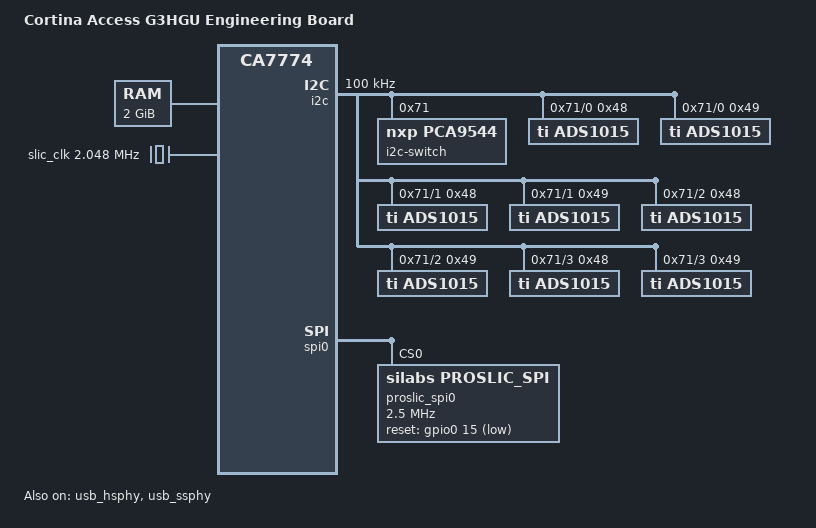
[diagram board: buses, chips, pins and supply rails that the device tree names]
/*
 * dts file for Cortina Access G3 ASIC Development Board
 *
 * Copyright (C) 2017, Cortina Access
 *
 */

/dts-v1/;

#include <dt-bindings/gpio/gpio.h>
#include "ca7774-soc_asic.dtsi"
#include "ca7774-soc-clks.dtsi"
#include "ca77xx-nand.dtsi"
#include "ca77xx-crypto.dtsi"
#include "ca77xx-led.dtsi"
#include "ca8279-saturn_soc.dtsi"

/* board specific and SoC overrides below */
/ {
	model = "Cortina Access G3HGU Engineering Board";
	compatible = "cortina,g3fpga", "cortina,ca7774";
	#address-cells = <2>;
	#size-cells = <2>;
	interrupt-parent = <&gic>;

	aliases {
		serial0 = &uart0;
		serial1 = &uart1;
                ethernet0 = &eth0;
                ethernet1 = &eth1;
	};

	memory { /* 2GB */
		device_type = "memory";
		reg = <0x0 0x00000000 0x0 0x80000000>;
	};

	ca_peri{
		compatible = "cortina,ca-peri";
		reg = <0x0 0xf4329018 0x0 0x400>,
		      <0x0 0xf4320000 0x0 0x60>;
		interrupt-parent = <&per_ictl>;
		interrupts = <2>;
		interrupt-names = "TMR1";
	};

#if 0		/* Enable below node if UART2/3 are necessary */
	uart2: uart@f43291a8 {
		device_type = "serial";
		compatible = "cortina,serial";
		reg = <0x00000000 0xf43291a8 0x0 0x30>;	/* UART base address */
		clocks = <&apb_pclk>;
		interrupts = <GIC_SPI IRQ_GLB_UART2 IRQ_TYPE_LEVEL_HIGH>;
		pinctrl-0 = <&uart2_default>;
		pinctrl-names = "default";
	};
	uart3: uart@f43291d8 {
		device_type = "serial";
		compatible = "cortina,serial";
		reg = <0x00000000 0xf43291d8 0x0 0x30>;	/* UART base address */
		clocks = <&apb_pclk>;
		interrupts = <GIC_SPI IRQ_GLB_UART3 IRQ_TYPE_LEVEL_HIGH>;
		pinctrl-0 = <&uart3_default>;
		pinctrl-names = "default";
	};
#endif

#if 0
	/* APB clock varies based on G3 config */
	/* TODO: develop clock driver to switch between freq. for now use fixed freq. */
	apb_pclk: g3_apb_pclk {
		compatible = "fixed-clock";
		#clock-cells = <0>;
		clock-frequency = <125000000>;
	};
#endif

	sd_clk: g3_sd_clk {
		compatible = "fixed-clock";
		#clock-cells = <0>;
		clock-frequency = <50000000>;
	};

	slic_clk: ext_slic_clk {
		compatible = "fixed-clock";
		#clock-cells = <0>;
#if 0
		/* extclk ONLY and divided internally to generate sclk
		 * ISI:24576000, ZSI:49152000
		 */
		clock-frequency = <24576000>;
		clock-output-names = "ext-slic-clk";
#endif
		/* extclk & extsclk BOTH
		 * ISI: extclk - 24576000/extsclk - 2048000
		 * ZSI: extclk - 49152000/extsclk - 4096000
		 */
		clock-frequency = <2048000>;
		clock-output-names = "ext-slic-sclk";
	};

#if 0
	/* SD clock provides 50/100/200 Mhz */
	/* TODO: develop clock driver to switch between this freq. for now use fixed freq. */
	sd_clk: g3_sd_clk {
		compatible = "fixed-clock";
		#clock-cells = <0>;
		clock-frequency = <50000000>;
	};
	/* PCIe clock provides 250 Mhz */
	pcie_clk: g3_pcie_clk {
		compatible = "fixed-clock";
		#clock-cells = <0>;
		clock-frequency = <250000000>;
	};
	/* PCIe BUS clock provides 250 Mhz */
	pcie_bclk: g3_pcie_bclk {
		compatible = "fixed-clock";
		#clock-cells = <0>;
		clock-frequency = <250000000>;
	};

	/* USB 2 clock provides 60 Mhz */
	usb2_clk: g3_usb2_clk {
		compatible = "fixed-clock";
		#clock-cells = <0>;
		clock-frequency = <60000000>;
	};

	smb { /* simple bus */

		uart0: uart@0xf4570114 {
			device_type = "serial";
			compatible = "cortina,serial";
			reg = <0x0 0xf4570114 0x0 0x30>; /* TODO - when memory map available */
			clocks = <&apb_pclk>;
			clock-names = "apb_pclk";
			interrupts = <0 32 0x1>; /* TODO - when interrupt map available */
		};

		uart1: uart@f4570144 {
			device_type = "serial";
			compatible = "cortina,serial";
			reg = <0x0 0xf4570144 0x0 0x30>; /* TODO - when memory map available */
			clocks = <&apb_pclk>;
			interrupts = <0 32 0x1>; /* edge triggered */
		};

	};
#endif

    /* Driver for thermal sensor, this sensor located at Saturn diode */
    thermal_sensor1: thermal@f310017c {
		compatible = "cortina,thermal-sensor";
		reg = <0 0xf310017c 0 0x10>;
		#thermal-sensor-cells = <0>;
	};

	thermal_cpu_hotplug: cpu_hotplug {
       compatible = "thermal-cpu-hotplug";
       cooling-min-level = <0>;
       cooling-max-level = <3>;
       #cooling-cells = <2>;
    };

	thermal-zones {
        cpu_thermal: cpu-thermal {
                polling-delay-passive = <500>; /* milliseconds */
                polling-delay = <3000>; /* milliseconds */

                thermal-sensors = <&thermal_sensor1>;

                trips {
                        cpu_alert0: cpu-alert0 {
                                temperature = <90000>; /* millicelsius */
                                hysteresis =  <5000>; /* millicelsius */
                                type = "active";
                        };
                        cpu_hot0: cpu-hot0 {
                                temperature = <105000>; /* millicelsius */
                                hysteresis = <5000>; /* millicelsius */
                                type = "passive";
                        };
                        cpu_crit0: cpu-crit0 {
                                temperature = <195000>; /* millicelsius */
                                hysteresis = <5000>; /* millicelsius */
                                type = "critical";
                        };
                };

                cooling-maps {
                        map0 {
                                trip = <&cpu_alert0>;
                                cooling-device =
					<&cpu0 0 7>;
                        };
                        map1 {
                                trip = <&cpu_hot0>;
                                cooling-device =
					<&thermal_cpu_hotplug 0 3>;
                        };
                        map2 {
                                trip = <&cpu_crit0>;
                                cooling-device =
					<&cpu0 THERMAL_NO_LIMIT THERMAL_NO_LIMIT>;
                        };
                };
        };
	};

	gpio-controller@f4329280 {
		id = <0>;
	};

	sgpio-controller@f3224280 {
		#address-cells = <1>;
		#size-cells = <0>;
		compatible = "cortina,ca77xx-gpio";
		reg = <0x0 0xf3224280 0x0 0x24>,
		      <0x0 0xf3100058 0x0 0x04>;
		id = <1>;
		iomux;

		/* Saturn GPIO bank 0 w/o interrupt */
		sgpio0: bank@0 {
			gpio-controller;
			reg = <0>;
			ngpios = <16>;
			#gpio-cells = <2>;
		};
	};

	pon@f4329000 {
		compatible = "cortina,ca77xx-pon";
		reg = <0x0 0xf4329000  0x0 0x400>;
		pon-gpio = <&gpio0 2 GPIO_ACTIVE_LOW>;
		dyinggasp-gpio = <&gpio0 1 GPIO_ACTIVE_LOW>;
		interrupt-parent = <&gpio0>;
		interrupts = <2 IRQ_TYPE_EDGE_RISING>;
	};

	gpio-reset {
		compatible = "linux,gpio-reset";

		pcie0_device_rst: pcie0_device {
			#reset-cells = <0>;
			/* 255 will inactive this node */
			gpios = <&gpio0 0 GPIO_ACTIVE_LOW>;
			asserted-state = <0>;
			/* device reset pulse width */
			duration-ms = <150>;
		};

		pcie1_device_rst: pcie1_device {
			#reset-cells = <0>;
			/* 255 will inactive this node */
			gpios = <&gpio0 1 GPIO_ACTIVE_LOW>;
			asserted-state = <0>;
			/* device reset pulse width */
			duration-ms = <10>;
		};

		pcie2_device_rst: pcie2_device {
			#reset-cells = <0>;
			/* 255 will inactive this node */
			gpios = <&gpio0 255 GPIO_ACTIVE_LOW>;
			asserted-state = <0>;
			/* device reset pulse width */
			duration-ms = <10>;
		};
	};
};

/* "okay" - turn on, "disabled" - turn off */
&glb_phy {
	forced-on;
};

&pcie0 {
	/* status = "disabled"; */

	resets = <&block_rst PCI0_RESET>, <&dphy_rst PHY_S0_PCIE_RESET>, <&pcie0_device_rst>;
	reset-names = "core_reset", "phy_reset", "device_reset";

	ready-time = /bits/ 16 <150>; /* device with embedded OS system */

	dma-coherent;
	linux,pci-domain = <0>;
	bus-range = <0x0 0x0>; /* save scan time */

	target_gen = <2>;
	target_lanes = <2>;

	serdes-cfg0 = <0xf4333004 0xa84a>,
		      <0xf4333008 0x6042>,
		      <0xf4333010 0x4000>,	/* BIT13: SSC */
		      <0xf4333018 0x001f>,
		      <0xf4333024 0x520c>,
		      <0xf4333028 0x9273>,
		      <0xf433302c 0x7905>,
		      <0xf4333034 0xf722>,
		      <0xf433303c 0x6000>,
		      <0xf4333044 0x4400>,
		      <0xf4333068 0x0000>,
		      <0xf4333070 0x0420>,
		      <0xf4333080 0x9477>,
		      <0xf4333090 0x080c>,
		      <0xf4333098 0xc40b>,
		      <0xf43330ac 0xa803>,

		      <0xf4333104 0xa84a>,
		      <0xf4333108 0x6042>,	/* BIT13: SSC */
		      <0xf4333110 0x4000>,
		      <0xf4333118 0x001f>,
		      <0xf4333124 0x520c>,
		      <0xf4333128 0x9273>,
		      <0xf433312c 0x7905>,
		      <0xf4333134 0xf722>,
		      <0xf433313c 0x6000>,
		      <0xf4333144 0x4400>,
		      <0xf4333168 0x0000>,
		      <0xf4333170 0x0420>,
		      <0xf4333180 0x9477>,
		      <0xf4333190 0x080c>,
		      <0xf4333198 0xc40b>,
		      <0xf43331ac 0xa803>;

	serdes-cfg1 = <0xf4334004 0xa84a>,
		      <0xf4334008 0x6042>,
		      <0xf4334010 0x4000>,	/* BIT13: SSC */
		      <0xf4334018 0x001f>,
		      <0xf4334024 0x520c>,
		      <0xf4334028 0x9273>,
		      <0xf433402c 0x7905>,
		      <0xf4334034 0xf722>,
		      <0xf433403c 0x6000>,
		      <0xf4334044 0x4400>,
		      <0xf4334068 0x0000>,
		      <0xf4334070 0x0420>,
		      <0xf4334080 0x9477>,
		      <0xf4334090 0x080c>,
		      <0xf4334098 0xc40b>,
		      <0xf43340ac 0xa803>,

		      <0xf4334104 0xa84a>,
		      <0xf4334108 0x6042>,
		      <0xf4334110 0x4000>,	/* BIT13: SSC */
		      <0xf4334118 0x001f>,
		      <0xf4334124 0x520c>,
		      <0xf4334128 0x9273>,
		      <0xf433412c 0x7905>,
		      <0xf4334134 0xf722>,
		      <0xf433413c 0x6000>,
		      <0xf4334144 0x4400>,
		      <0xf4334168 0x0000>,
		      <0xf4334170 0x0420>,
		      <0xf4334180 0x9477>,
		      <0xf4334190 0x080c>,
		      <0xf4334198 0xc40b>,
		      <0xf43341ac 0xa803>;
};

&pcie1 {
	/* status = "disabled"; */

	resets = <&block_rst PCI1_RESET>, <&dphy_rst PHY_S1_PCIE_RESET>, <&pcie1_device_rst>;
	reset-names = "core_reset", "phy_reset", "device_reset";

	ready-time = /bits/ 16 <50>;

	dma-coherent;
	linux,pci-domain = <1>;
	bus-range = <0x0 0x0>; /* save scan time */
};

&pcie2 {
	status = "disabled";

	resets = <&block_rst PCI2_RESET>, <&dphy_rst PHY_S2_PCIE_RESET>, <&pcie2_device_rst>;
	reset-names = "core_reset", "phy_reset", "device_reset";

	ready-time = /bits/ 16 <50>;

	/* forced-gen1; */
	dma-coherent;
	linux,pci-domain = <2>;
	bus-range = <0x0 0x0>; /* save scan time */
};

&usb_hsphy {
	status = "okay";
};

&usb_ssphy {
	status = "okay";
	portmask = <0x3>;
	phy-vbus-gpio = <&gpio0 4 GPIO_ACTIVE_HIGH>;
};

&sata {
	status = "disabled";
	/* dma-coherent; */
	phys = <&s3_sata_phy>;
	phy-names = "sata-phy";
};

&i2c {
	clock-frequency = <100000>;
	timeout = <1000>;
	retries = <3>;

	i2c-switch@70 {
		compatible = "nxp,pca9544";
		#address-cells = <1>;
		#size-cells = <0>;
		reg = <0x70>;
		status = "disabled";

		i2c@3 {
			#address-cells = <1>;
			#size-cells = <0>;
			reg = <3>;

			hwmon@48 {
				compatible = "nxp,lm75a";
				reg = <0x48>;
				status = "disabled";
			};
		};
	};

	i2c-switch@71 {
		compatible = "nxp,pca9544";
		#address-cells = <1>;
		#size-cells = <0>;
		reg = <0x71>;
		/* status = "disabled"; */

		i2c@0 {
			#address-cells = <1>;
			#size-cells = <0>;
			reg = <0>;

			ads1015@48 {
				compatible = "ti,ads1015";
				reg = <0x48>;
				#address-cells = <1>;
				#size-cells = <0>;

				channel@0 {
					reg = <0>;
					ti,gain = <1>;
					ti,datarate = <3>;
				};
				channel@3 {
					reg = <3>;
					ti,gain = <1>;
					ti,datarate = <3>;
				};
			};

			ads1015@49 {
				compatible = "ti,ads1015";
				reg = <0x49>;
				#address-cells = <1>;
				#size-cells = <0>;

				channel@0 {
					reg = <0>;
					ti,gain = <1>;
					ti,datarate = <3>;
				};
				channel@3 {
					reg = <3>;
					ti,gain = <1>;
					ti,datarate = <3>;
				};
			};
		};

		i2c@1 {
			#address-cells = <1>;
			#size-cells = <0>;
			reg = <1>;

			ads1015@48 {
				compatible = "ti,ads1015";
				reg = <0x48>;
				#address-cells = <1>;
				#size-cells = <0>;

				channel@0 {
					reg = <0>;
					ti,gain = <1>;
					ti,datarate = <3>;
				};
				channel@3 {
					reg = <3>;
					ti,gain = <1>;
					ti,datarate = <3>;
				};
			};

			ads1015@49 {
				compatible = "ti,ads1015";
				reg = <0x49>;
				#address-cells = <1>;
				#size-cells = <0>;

				channel@0 {
					reg = <0>;
					ti,gain = <1>;
					ti,datarate = <3>;
				};
				channel@3 {
					reg = <3>;
					ti,gain = <1>;
					ti,datarate = <3>;
				};
			};
		};

		i2c@2 {
			#address-cells = <1>;
			#size-cells = <0>;
			reg = <2>;

			ads1015@48 {
				compatible = "ti,ads1015";
				reg = <0x48>;
				#address-cells = <1>;
				#size-cells = <0>;

				channel@0 {
					reg = <0>;
					ti,gain = <1>;
					ti,datarate = <3>;
				};
				channel@3 {
					reg = <3>;
					ti,gain = <1>;
					ti,datarate = <3>;
				};
			};

			ads1015@49 {
				compatible = "ti,ads1015";
				reg = <0x49>;
				#address-cells = <1>;
				#size-cells = <0>;

				channel@0 {
					reg = <0>;
					ti,gain = <1>;
					ti,datarate = <3>;
				};
				channel@3 {
					reg = <3>;
					ti,gain = <1>;
					ti,datarate = <3>;
				};
			};
		};

		i2c@3 {
			#address-cells = <1>;
			#size-cells = <0>;
			reg = <3>;

			ads1015@48 {
				compatible = "ti,ads1015";
				reg = <0x48>;
				#address-cells = <1>;
				#size-cells = <0>;

				channel@0 {
					reg = <0>;
					ti,gain = <1>;
					ti,datarate = <3>;
				};
				channel@3 {
					reg = <3>;
					ti,gain = <1>;
					ti,datarate = <3>;
				};
			};

			ads1015@49 {
				compatible = "ti,ads1015";
				reg = <0x49>;
				#address-cells = <1>;
				#size-cells = <0>;

				channel@0 {
					reg = <0>;
					ti,gain = <1>;
					ti,datarate = <3>;
				};
				channel@3 {
					reg = <3>;
					ti,gain = <1>;
					ti,datarate = <3>;
				};
			};
		};
	};
};

&spi0 {
	/* explained here proslic_api/docs/ProSLIC_API_QuickStart_Linux.pdf */
#if 1
	/* Si32183: channel_count = 1, with isi, mode spi-cpha
	 * Si32285: channel_count = 2, with isi, mode spi-cpha
	 */
	proslic_spi0: proslic_spi0@0 {
		compatible = "silabs,proslic_spi", "rohm,dh2228fv";
		status = "okay";
		spi-max-frequency = <2500000>;
		reg = <0>;
		isi;
		spi-cpha;
		channel_count = <2>;
		debug_level = <7>;
		reset-gpio = <&gpio0 15 GPIO_ACTIVE_LOW>;
	};
#endif

#if 0
	/* Si32287: channel_count = 1, w/o isi, mode spi-cpha/spi-cpol */
	proslic_spi0: proslic_spi0@0 {
		compatible = "silabs,proslic_spi", "rohm,dh2228fv";
		status = "okay";
		spi-max-frequency = <2500000>;
		reg = <0>;
		spi-cpha;
		spi-cpol;
		channel_count = <2>;
		debug_level = <7>;
		/* reset-gpio = <&gpio0 3 GPIO_ACTIVE_LOW>; */
	};
#endif

#if 0
	voicepath_spi0: voicepath_spi0@0 {
		compatible = "microsemi,voicepath_spi", "rohm,dh2228fv";
		status = "okay";
		spi-max-frequency = <2500000>;
		reg = <0>;
		zsi;
		spi-cpha;
		spi-cpol;
		channel_count = <2>;
		debug_level = <7>;
		/* reset-gpio = <&gpio0 3 GPIO_ACTIVE_LOW>; */
        };
#endif
};

&audio {
	clocks = <&slic_clk>;
};

&led_ctrl {
	hw-blink-rate1 = <256>;
	hw-blink-rate2 = <512>;
};

&led0 {
	active-low;
	label = "green:led0";
	blinking,hw-rx;
	port = <4>;
	blink-rate1;
	default-state = "disabled";
};

&led1 {
	active-low;
	label = "green:led1";
	blinking,hw-rx;
	port = <5>;
	blink-rate1;
	default-state = "disabled";
};

&led2 {
	active-low;
	label = "green:led2";
	blinking,hw-rx;
	port = <6>;
	blink-rate1;
	default-state = "disabled";
};

&led3 {
	active-low;
	label = "green:led3";
	blinking,hw-rx;
	port = <7>;
	blink-rate1;
	default-state = "disabled";
};

&led4 {
	active-low;
	label = "green:led4";
	blinking,hw-tx;
	on,sw;
	port = <7>;
	blink-rate1;
	default-state = "disabled";
};

&led5 {
	active-low;
	label = "green:led5";
	blinking,hw-tx;
	on,sw;
	port = <6>;
	blink-rate1;
	default-state = "disabled";
};

&led6 {
	active-low;
	label = "green:led6";
	blinking,hw-tx;
	on,sw;
	port = <5>;
	blink-rate1;
	default-state = "disabled";
};

&led7 {
	active-low;
	label = "green:led7";
	blinking,hw-tx;
	on,sw;
	port = <4>;
	blink-rate1;
	default-state = "disabled";
};

&led8 {
	active-low;
	label = "green:led8";
	blinking,hw-rx;
	port = <0>;
	blink-rate1;
	default-state = "disabled";
};

&led9 {
	active-low;
	label = "green:led9";
	blinking,hw-rx;
	port = <1>;
	blink-rate1;
	default-state = "disabled";
};

&led10 {
	active-low;
	label = "green:led10";
	blinking,hw-rx;
	port = <2>;
	blink-rate1;
	default-state = "disabled";
};

&led11 {
	active-low;
	label = "green:led11";
	blinking,hw-rx;
	port = <3>;
	blink-rate1;
	default-state = "disabled";
};

&led12 {
	active-low;
	label = "green:led12";
	blinking,hw-tx;
	on,sw;
	port = <3>;
	blink-rate1;
	default-state = "disabled";
};

&led13 {
	active-low;
	label = "green:led13";
	blinking,hw-tx;
	on,sw;
	port = <2>;
	blink-rate1;
	default-state = "disabled";
};

&led14 {
	active-low;
	label = "green:led14";
	blinking,hw-tx;
	on,sw;
	port = <1>;
	blink-rate1;
	default-state = "disabled";
};

&led15 {
	active-low;
	label = "green:led15";
	blinking,hw-tx;
	on,sw;
	port = <0>;
	blink-rate1;
	default-state = "disabled";
};

&crypto0 {
	status = "disabled";
};

&crypto1 {
	status = "disabled";
};

#if 0
&s0_pcie_phy {
	serdes-cfg = <0xf4333004 0xa80a>,
		     <0xf4333010 0x4000>,
		     <0xf4333018 0x001f>,
		     <0xf4333024 0x520c>,
		     <0xf4333028 0xd673>,
		     <0xf433302c 0x7905>,
		     <0xf4333034 0xf722>,
		     <0xf433303c 0x6000>,
		     <0xf4333068 0x0000>,
		     <0xf4333080 0x9477>,
		     <0xf4333090 0x080c>,
		     <0xf43330ac 0xa803>,

		     <0xf4333104 0xa80a>,
		     <0xf4333110 0x4000>,
		     <0xf4333118 0x001f>,
		     <0xf4333124 0x520c>,
		     <0xf4333128 0xd673>,
		     <0xf433312c 0x7905>,
		     <0xf4333134 0xf722>,
		     <0xf433313c 0x6000>,
		     <0xf4333168 0x0000>,
		     <0xf4333180 0x9477>,
		     <0xf4333190 0x080c>,
		     <0xf43331ac 0xa803>,

		     <0xf4334004 0xa80a>,
		     <0xf4334010 0x4000>,
		     <0xf4334018 0x001f>,
		     <0xf4334024 0x520c>,
		     <0xf4334028 0xd673>,
		     <0xf433402c 0x7905>,
		     <0xf4334034 0xf722>,
		     <0xf433403c 0x6000>,
		     <0xf4334068 0x0000>,
		     <0xf4334080 0x9477>,
		     <0xf4334090 0x080c>,
		     <0xf43340ac 0xa803>,

		     <0xf4334104 0xa80a>,
		     <0xf4334110 0x4000>,
		     <0xf4334118 0x001f>,
		     <0xf4334124 0x520c>,
		     <0xf4334128 0xd673>,
		     <0xf433412c 0x7905>,
		     <0xf4334134 0xf722>,
		     <0xf433413c 0x6000>,
		     <0xf4334168 0x0000>,
		     <0xf4334180 0x9477>,
		     <0xf4334190 0x080c>,
		     <0xf43341ac 0xa803>;
};
#endif
